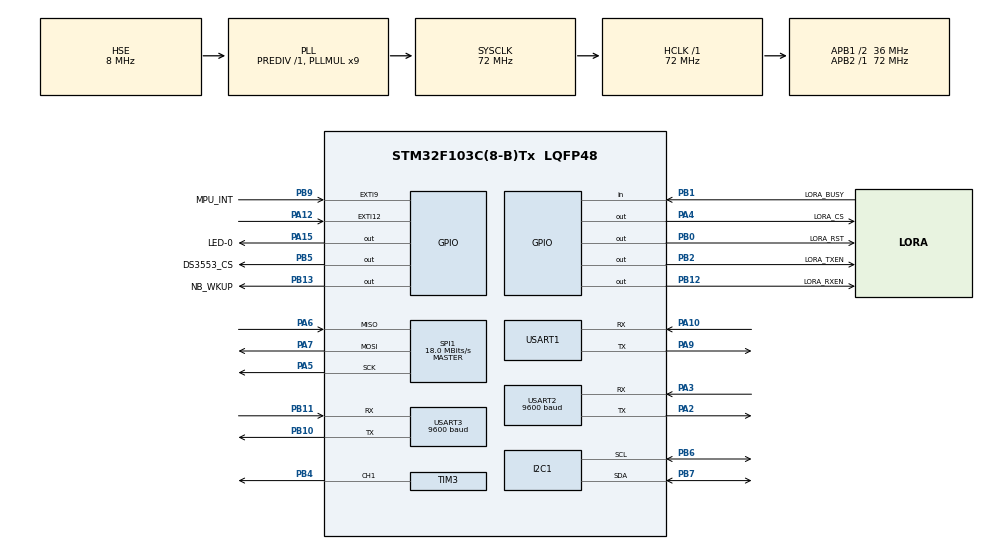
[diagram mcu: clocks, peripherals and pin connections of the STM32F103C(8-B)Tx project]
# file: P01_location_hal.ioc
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I2C1.I2C_Mode=I2C_Standard
Mcu.Family=STM32F1
Mcu.Name=STM32F103C(8-B)Tx
Mcu.Package=LQFP48
NVIC.PriorityGroup=NVIC_PRIORITYGROUP_4
PA10.Mode=Asynchronous
PA10.Signal=USART1_RX
PA12.GPIO_ModeDefaultEXTI=GPIO_MODE_IT_FALLING
PA12.GPIO_PuPd=GPIO_PULLUP
PA12.Signal=GPXTI12
PA13.Mode=Serial_Wire
PA13.Signal=SYS_JTMS-SWDIO
PA14.Mode=Serial_Wire
PA14.Signal=SYS_JTCK-SWCLK
PA15.GPIO_Label=LED-0
PA15.GPIO_Speed=GPIO_SPEED_FREQ_HIGH
PA15.Signal=GPIO_Output
PA2.Mode=Asynchronous
PA2.Signal=USART2_TX
PA3.Mode=Asynchronous
PA3.Signal=USART2_RX
PA4.GPIO_Label=LORA_CS
PA4.GPIO_Speed=GPIO_SPEED_FREQ_HIGH
PA4.PinState=GPIO_PIN_SET
PA4.Signal=GPIO_Output
PA5.Mode=Full_Duplex_Master
PA5.Signal=SPI1_SCK
PA6.Mode=Full_Duplex_Master
PA6.Signal=SPI1_MISO
PA7.Mode=Full_Duplex_Master
PA7.Signal=SPI1_MOSI
PA9.Mode=Asynchronous
PA9.Signal=USART1_TX
PB0.GPIO_Label=LORA_RST
PB0.GPIO_Speed=GPIO_SPEED_FREQ_HIGH
PB0.Signal=GPIO_Output
PB1.GPIO_Label=LORA_BUSY
PB1.Signal=GPIO_Input
PB10.Mode=Asynchronous
PB10.Signal=USART3_TX
PB11.Mode=Asynchronous
PB11.Signal=USART3_RX
PB12.GPIO_Label=LORA_RXEN
PB12.GPIO_Speed=GPIO_SPEED_FREQ_HIGH
PB12.Signal=GPIO_Output
PB13.GPIO_Label=NB_WKUP
PB13.GPIO_Speed=GPIO_SPEED_FREQ_HIGH
PB13.Signal=GPIO_Output
PB2.GPIO_Label=LORA_TXEN
PB2.GPIO_Speed=GPIO_SPEED_FREQ_HIGH
PB2.PinState=GPIO_PIN_RESET
PB2.Signal=GPIO_Output
PB4.Signal=S_TIM3_CH1
PB5.GPIO_Label=DS3553_CS
PB5.GPIO_Speed=GPIO_SPEED_FREQ_HIGH
PB5.PinState=GPIO_PIN_SET
PB5.Signal=GPIO_Output
PB6.Mode=I2C
PB6.Signal=I2C1_SCL
PB7.Mode=I2C
PB7.Signal=I2C1_SDA
PB9.GPIO_Label=MPU_INT
PB9.Signal=GPXTI9
PC14-OSC32_IN.Mode=LSE-External-Oscillator
PC14-OSC32_IN.Signal=RCC_OSC32_IN
PC15-OSC32_OUT.Mode=LSE-External-Oscillator
PC15-OSC32_OUT.Signal=RCC_OSC32_OUT
PD0-OSC_IN.Mode=HSE-External-Oscillator
PD0-OSC_IN.Signal=RCC_OSC_IN
PD1-OSC_OUT.Mode=HSE-External-Oscillator
PD1-OSC_OUT.Signal=RCC_OSC_OUT
ProjectManager.HeapSize=0x200
ProjectManager.StackSize=0x400
ProjectManager.TargetToolchain=MDK-ARM V5.32
RCC.ADCPresc=RCC_ADCPCLK2_DIV6
RCC.AHBFreq_Value=72000000
RCC.APB1CLKDivider=RCC_HCLK_DIV2
RCC.APB1Freq_Value=36000000
RCC.APB1TimFreq_Value=72000000
RCC.APB2Freq_Value=72000000
RCC.APB2TimFreq_Value=72000000
RCC.HCLKFreq_Value=72000000
RCC.PLLMUL=RCC_PLL_MUL9
RCC.PLLSourceVirtual=RCC_PLLSOURCE_HSE
RCC.SYSCLKFreq_VALUE=72000000
RCC.SYSCLKSource=RCC_SYSCLKSOURCE_PLLCLK
RCC.USBFreq_Value=72000000
SH.S_TIM3_CH1.0=TIM3_CH1,PWM Generation1 CH1
SPI1.BaudRatePrescaler=SPI_BAUDRATEPRESCALER_4
SPI1.CalculateBaudRate=18.0 MBits/s
SPI1.Direction=SPI_DIRECTION_2LINES
SPI1.Mode=SPI_MODE_MASTER
SPI1.VirtualType=VM_MASTER
TIM3.Channel-PWM\ Generation1\ CH1=TIM_CHANNEL_1
TIM3.Period=20-1
TIM3.Prescaler=7200-1
TIM3.Pulse-PWM\ Generation1\ CH1=10
USART1.VirtualMode=VM_ASYNC
USART2.BaudRate=9600
USART2.VirtualMode=VM_ASYNC
USART3.BaudRate=9600
USART3.VirtualMode=VM_ASYNC
VP_TIM3_VS_ClockSourceINT.Mode=Internal
board=custom

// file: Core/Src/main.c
/* USER CODE BEGIN Header */
/**
 ******************************************************************************
 * @file           : main.c
 * @brief          : Main program body
 ******************************************************************************
 * @attention
 *
 * Copyright (c) 2025 STMicroelectronics.
 * All rights reserved.
 *
 * This software is licensed under terms that can be found in the LICENSE file
 * in the root directory of this software component.
 * If no LICENSE file comes with this software, it is provided AS-IS.
 *
 ******************************************************************************
 */
/* USER CODE END Header */
#include "main.h"
#include "i2c.h"
#include "spi.h"
#include "tim.h"
#include "usart.h"
#include "gpio.h"

/* USER CODE BEGIN Includes */
#include "Com_debug.h"
#include "Int_led.h"
#include "Int_buzzer.h"
#include "Int_step.h"
#include "Int_AT6558R.h"
#include "Int_mpu6050.h"
#include "Int_qs100.h"
#include "Int_llcc68.h"
/* USER CODE END Includes */

/* USER CODE BEGIN PTD */
MPU6050_Gyro gyro;
MPU6050_Accel accel = {.accel_x = 0, .accel_y = 0, .accel_z = 16384};
/* USER CODE END PTD */

void SystemClock_Config(void);

int main(void)
{

  /* MCU Configuration--------------------------------------------------------*/

  /* Reset of all peripherals, Initializes the Flash interface and the Systick. */
  HAL_Init();

  /* Configure the system clock */
  SystemClock_Config();

  /* Initialize all configured peripherals */
  MX_GPIO_Init();
  MX_USART1_UART_Init();
  MX_TIM3_Init();
  MX_I2C1_Init();
  MX_USART2_UART_Init();
  MX_USART3_UART_Init();
  MX_SPI1_Init();
  /* USER CODE BEGIN 2 */

  // 使用串口输出  => 打印一次hello world需要多长时间  =>  1ms时间  根据波特率115200bit/s
  // HAL_UART_Transmit(&huart1, "Hello World", 11, 1000);
  // printf("hello world");
  debug_printf("hello world %d", 10);

  // 测试全彩灯
  // Int_led_send_data(0);

  // 测试全彩灯 闪烁
  // for (uint8_t i = 0; i < 10; i++)
  // {
  //   Int_led_blink(LED_RED, 300);
  // }

  // 测试全彩灯 彩虹灯效果
  // for (uint8_t i = 0; i < 5; i++)
  // {
  //   // ms * 88 是一轮的时间
  //   Int_led_rainbow(20);
  // }

  // 测试蜂鸣器
  // Int_buzzer_on();
  // HAL_Delay(2000);
  // Int_buzzer_off();
  // Int_buzzer_music();

  // 测试i2c连接DS3553芯片
  // Int_step_init();

  // 测试GPS
  // Int_GPS_Init();

  // 测试陀螺仪
  Int_mpu6050_init();

  // 测试IOT
  // Int_qs100_init();
  // Int_qs100_send_msg((uint8_t *)"hello world", 11);
  // HAL_Delay(1000);

  // 测试lora
  // Int_llcc68_init();
  // uint8_t data[16] = {0};
  // uint16_t len = 0;
  /* USER CODE END 2 */

  /* Infinite loop */
  /* USER CODE BEGIN WHILE */
  while (1)
  {
    // uint32_t count = Int_step_get_count();
    // debug_printf("count: %d", count);
    // Int_GPS_Update_Data();
    // Int_mpu6050_init();

    Int_mpu6050_get_accel_with_filter(&accel);
    Int_mpu6050_get_gyro_with_filter(&gyro);
    // debug_printf("accel: %f, %f, %f", accel.accel_x, accel.accel_y, accel.accel_z);
    debug_printf("gyro: %.4f, %.4f, %.4f", gyro.gyro_x, gyro.gyro_y, gyro.gyro_z);

    // Int_llcc68_send("hello",5);
    // Int_llcc68_receive(data, &len);
    // if (len > 0)
    // {
    //   debug_printf("receive: %s", data);
    //   memset(data, 0, len);
    //   len = 0;
    // }

    HAL_Delay(100);
    /* USER CODE END WHILE */

  }
}

void SystemClock_Config(void)
{
  RCC_OscInitTypeDef RCC_OscInitStruct = {0};
  RCC_ClkInitTypeDef RCC_ClkInitStruct = {0};

  /** Initializes the RCC Oscillators according to the specified parameters
  * in the RCC_OscInitTypeDef structure.
  */
  RCC_OscInitStruct.OscillatorType = RCC_OSCILLATORTYPE_HSE;
  RCC_OscInitStruct.HSEState = RCC_HSE_ON;
  RCC_OscInitStruct.HSEPredivValue = RCC_HSE_PREDIV_DIV1;
  RCC_OscInitStruct.HSIState = RCC_HSI_ON;
  RCC_OscInitStruct.PLL.PLLState = RCC_PLL_ON;
  RCC_OscInitStruct.PLL.PLLSource = RCC_PLLSOURCE_HSE;
  RCC_OscInitStruct.PLL.PLLMUL = RCC_PLL_MUL9;
  if (HAL_RCC_OscConfig(&RCC_OscInitStruct) != HAL_OK)
  {
    Error_Handler();
  }

  /** Initializes the CPU, AHB and APB buses clocks
  */
  RCC_ClkInitStruct.ClockType = RCC_CLOCKTYPE_HCLK|RCC_CLOCKTYPE_SYSCLK
                              |RCC_CLOCKTYPE_PCLK1|RCC_CLOCKTYPE_PCLK2;
  RCC_ClkInitStruct.SYSCLKSource = RCC_SYSCLKSOURCE_PLLCLK;
  RCC_ClkInitStruct.AHBCLKDivider = RCC_SYSCLK_DIV1;
  RCC_ClkInitStruct.APB1CLKDivider = RCC_HCLK_DIV2;
  RCC_ClkInitStruct.APB2CLKDivider = RCC_HCLK_DIV1;

  if (HAL_RCC_ClockConfig(&RCC_ClkInitStruct, FLASH_LATENCY_2) != HAL_OK)
  {
    Error_Handler();
  }
}

void Error_Handler(void)
{
  __disable_irq();
  while (1)
  {
  }
}
